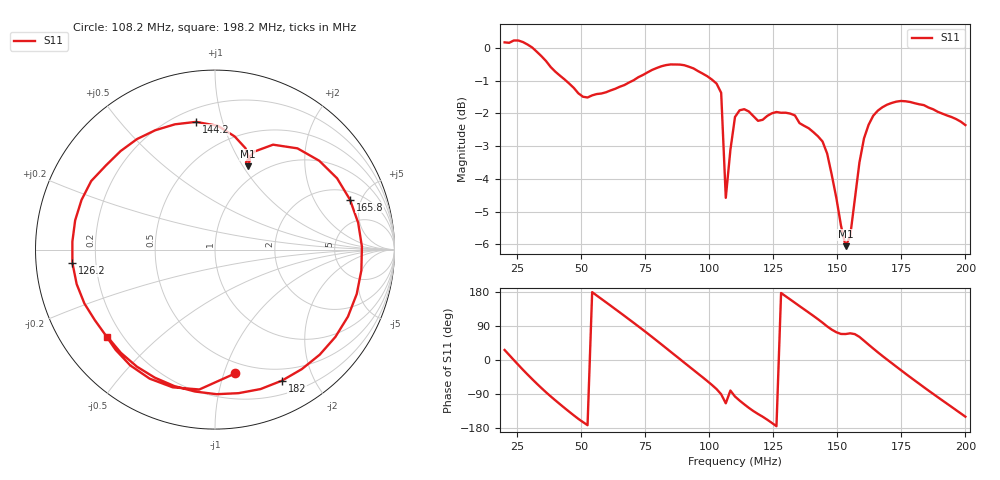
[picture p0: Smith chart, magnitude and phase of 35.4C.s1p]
# HZ S RI R 50
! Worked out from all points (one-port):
!   101 points, 20 MHz to 200 MHz, reference 50 ohm
!   lowest |S11| = -6.1 dB at 153.2 MHz (marker M1), VSWR 2.99, Z = 42.5 + j52.5 ohm
!   |S11| at or under -10 dB: nowhere
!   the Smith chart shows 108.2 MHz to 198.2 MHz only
!   S11 on the Smith chart (normalised r, x): 108.2 MHz: 0.41, -1.09; 126.2 MHz: 0.11, -0.05; 144.2 MHz: 0.28, +0.82; 165.8 MHz: 2.57, +4.01; 182 MHz: 0.35, -1.58; 198.2 MHz: 0.14, -0.35
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2e7  0.9125 0.4533
2.54e7  0.9986 -0.2336
3.26e7  0.4547 -0.8746
4.34e7  -0.5323 -0.7193
5.42e7  -0.8459 0.0133
6.5e7  -0.5063 0.71
7.58e7  0.3084 0.8635
8.84e7  0.9415 0.0447
9.38e7  0.8324 -0.4145
1.01e8  0.3655 -0.8159
1.046e8  -0.00644 -0.8535
1.064e8  -0.2429 -0.5381
1.082e8  0.1141 -0.6891
1.1e8  -0.0871 -0.7793
1.172e8  -0.5543 -0.5578
1.262e8  -0.7945 -0.0738
1.334e8  -0.6896 0.3822
1.442e8  -0.1058 0.7116
1.532e8  0.1824 0.4637
1.55e8  0.1727 0.4866
1.604e8  0.4596 0.564
1.658e8  0.752 0.2783
1.712e8  0.8154 -0.1161
1.784e8  0.5838 -0.5852
1.82e8  0.3733 -0.7299
1.892e8  -0.1119 -0.7907
1.982e8  -0.5993 -0.4857
2e8  -0.6573 -0.3858
